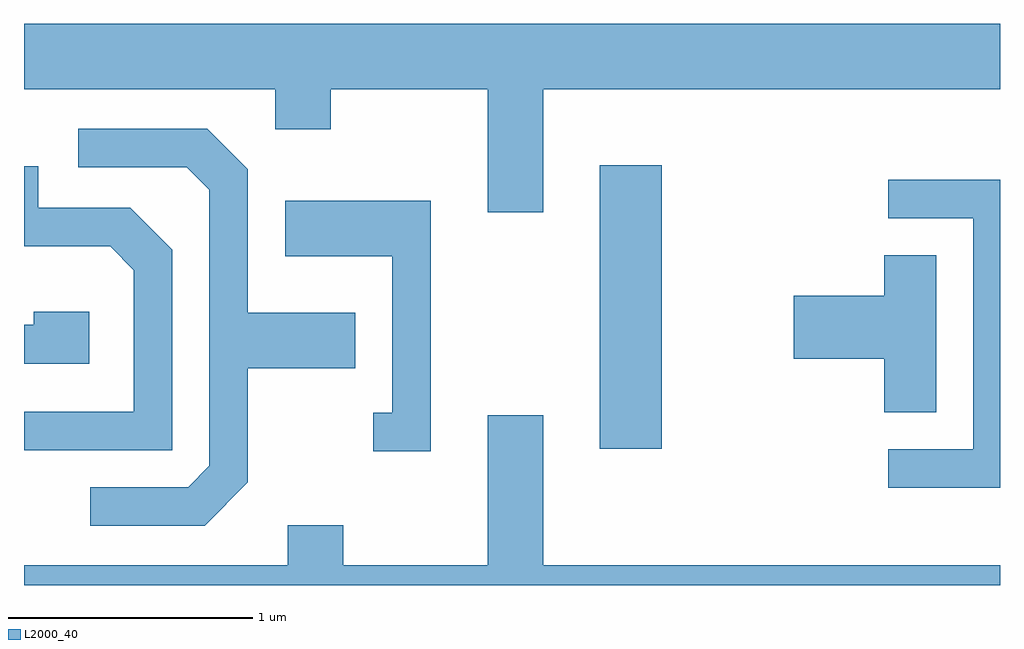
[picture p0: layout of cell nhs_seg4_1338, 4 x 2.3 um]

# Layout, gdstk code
import gdstk
lib = gdstk.Library(unit=1e-6, precision=1e-09)
def R(c, l, rs):  # rectangles x0, y0, x1, y1
    for r in rs: c.add(gdstk.rectangle(r[:2], r[2:], *l))
def P(c, l, *ps):  # polygons
    for p in ps: c.add(gdstk.Polygon(p, *l))
L2000_40 = (2000, 40)

nhs_seg4_1338 = lib.new_cell('nhs_seg4_1338')
R(nhs_seg4_1338, L2000_40, [(225.971,1346.541,226.224,1347.704)])
P(nhs_seg4_1338, L2000_40, [(225.739,1348.016),(227.611,1348.016),(227.611,1348.284),(223.611,1348.284),(223.611,1348.016),(224.641,1348.016),(224.641,1347.851),(224.869,1347.851),(224.869,1348.016),(225.511,1348.016),(225.511,1347.511),(225.739,1347.511)],
  [(224.529,1346.404),(224.529,1346.871),(224.969,1346.871),(224.969,1347.099),(224.529,1347.099),(224.529,1347.687),(224.362,1347.854),(223.833,1347.854),(223.833,1347.696),(224.279,1347.696),(224.371,1347.604),(224.371,1346.472),(224.284,1346.384),(223.883,1346.384),(223.883,1346.226),(224.352,1346.226)],
  [(224.219,1347.357),(224.047,1347.529),(223.669,1347.529),(223.669,1347.699),(223.611,1347.699),(223.611,1347.371),(223.964,1347.371),(224.061,1347.274),(224.061,1346.694),(223.611,1346.694),(223.611,1346.536),(224.219,1346.536)],
  [(227.611,1347.644),(227.153,1347.644),(227.153,1347.486),(227.501,1347.486),(227.501,1346.539),(227.153,1346.539),(227.153,1346.381),(227.611,1346.381)],
  [(225.279,1347.559),(224.681,1347.559),(224.681,1347.331),(225.121,1347.331),(225.121,1346.689),(225.043,1346.689),(225.043,1346.531),(225.279,1346.531)],
  [(227.349,1347.334),(227.136,1347.334),(227.136,1347.169),(226.766,1347.169),(226.766,1346.911),(227.136,1346.911),(227.136,1346.691),(227.349,1346.691)],
  [(223.879,1347.104),(223.651,1347.104),(223.651,1347.049),(223.611,1347.049),(223.611,1346.891),(223.879,1346.891)],
  [(227.611,1346.064),(225.739,1346.064),(225.739,1346.679),(225.511,1346.679),(225.511,1346.064),(224.919,1346.064),(224.919,1346.229),(224.691,1346.229),(224.691,1346.064),(223.611,1346.064),(223.611,1345.982),(227.611,1345.982)])

lib.write_gds('nhs_seg4_1338.gds')
